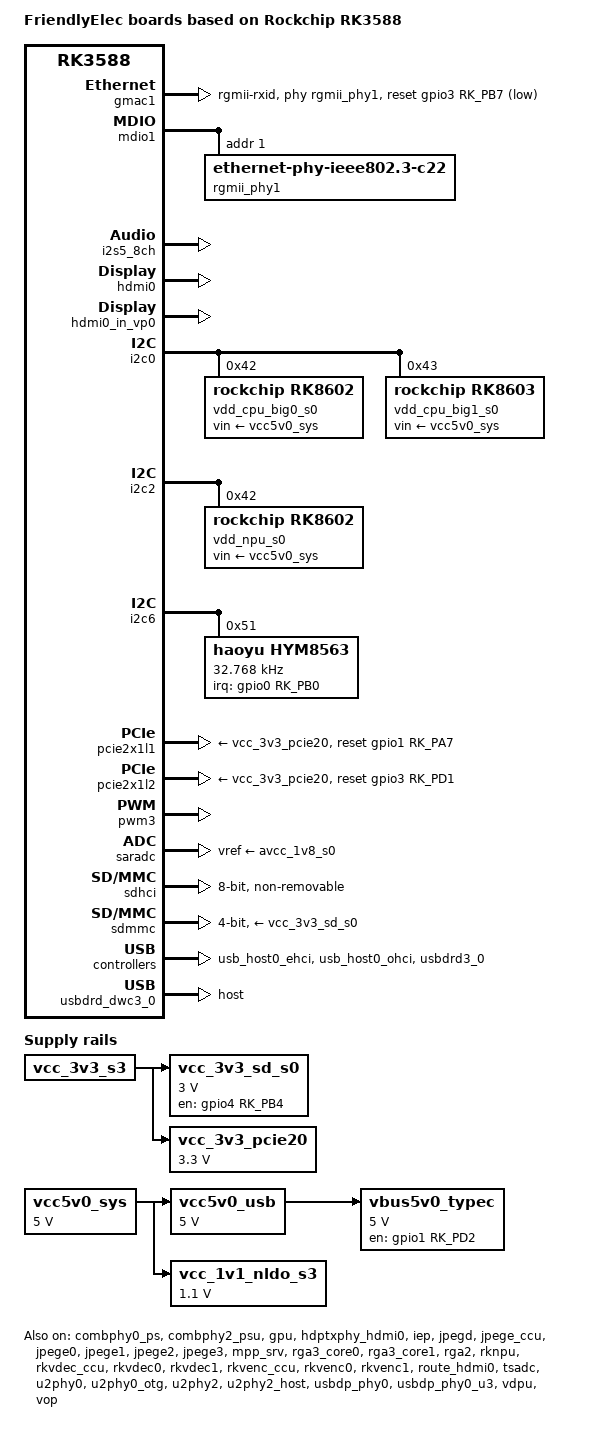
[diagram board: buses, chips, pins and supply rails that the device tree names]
// SPDX-License-Identifier: (GPL-2.0+ OR MIT)
/*
 * Copyright (c) 2022 FriendlyElec Computer Tech. Co., Ltd.
 * (http://www.friendlyelec.com)
 *
 * Copyright (c) 2021 Rockchip Electronics Co., Ltd.
 */

#include <dt-bindings/gpio/gpio.h>
#include <dt-bindings/pwm/pwm.h>
#include <dt-bindings/pinctrl/rockchip.h>
#include <dt-bindings/input/rk-input.h>
#include <dt-bindings/display/drm_mipi_dsi.h>
#include <dt-bindings/display/rockchip_vop.h>
#include <dt-bindings/sensor-dev.h>
#include <dt-bindings/usb/pd.h>
#include "rk3588s.dtsi"
#include "rk3588-rk806-single.dtsi"
#include "rk3588-linux.dtsi"

/ {
	model = "FriendlyElec boards based on Rockchip RK3588";
	compatible = "friendlyelec,nanopi6",
		     "rockchip,rk3588";

	aliases {
		mmc0 = &sdmmc;
		mmc1 = &sdio;
		mmc2 = &sdhci;
	};

	chosen: chosen {
		bootargs = "earlycon=uart8250,mmio32,0xfeb50000 console=ttyFIQ0 coherent_pool=1m irqchip.gicv3_pseudo_nmi=0";
	};

	hdmi0_sound: hdmi0-sound {
		status = "disabled";
		compatible = "rockchip,hdmi";
		rockchip,mclk-fs = <128>;
		rockchip,card-name = "rockchip-hdmi0";
		rockchip,cpu = <&i2s5_8ch>;
		rockchip,codec = <&hdmi0>;
		rockchip,jack-det;
	};

	mach: board {
		compatible = "friendlyelec,board";
		machine = "NANOPI6";
		hwrev = <255>;
		model = "NanoPi 6 Series";
		nvmem-cells = <&otp_id>, <&otp_cpu_version>;
		nvmem-cell-names = "id", "cpu-version";
	};

	vcc5v0_sys: vcc5v0-sys {
		compatible = "regulator-fixed";
		regulator-name = "vcc5v0_sys";
		regulator-always-on;
		regulator-boot-on;
		regulator-min-microvolt = <5000000>;
		regulator-max-microvolt = <5000000>;
	};

	vcc5v0_usb: vcc5v0-usb {
		compatible = "regulator-fixed";
		regulator-name = "vcc5v0_usb";
		regulator-always-on;
		regulator-boot-on;
		regulator-min-microvolt = <5000000>;
		regulator-max-microvolt = <5000000>;
		vin-supply = <&vcc5v0_sys>;
	};

	vcc_1v1_nldo_s3: vcc-1v1-nldo-s3 {
		compatible = "regulator-fixed";
		regulator-name = "vcc_1v1_nldo_s3";
		regulator-always-on;
		regulator-boot-on;
		regulator-min-microvolt = <1100000>;
		regulator-max-microvolt = <1100000>;
		vin-supply = <&vcc5v0_sys>;
	};

	vcc_3v3_sd_s0: vcc-3v3-sd-s0-regulator {
		compatible = "regulator-fixed";
		enable-active-high;
		gpio = <&gpio4 RK_PB4 GPIO_ACTIVE_HIGH>;
		pinctrl-names = "default";
		pinctrl-0 = <&sd_s0_pwr>;
		regulator-always-on;
		regulator-boot-on;
		regulator-max-microvolt = <3000000>;
		regulator-min-microvolt = <3000000>;
		regulator-name = "vcc_3v3_sd_s0";
		vin-supply = <&vcc_3v3_s3>;
	};

	vcc_3v3_pcie20: vcc3v3-pcie20 {
		compatible = "regulator-fixed";
		regulator-name = "vcc_3v3_pcie20";
		regulator-always-on;
		regulator-boot-on;
		regulator-min-microvolt = <3300000>;
		regulator-max-microvolt = <3300000>;
		vin-supply = <&vcc_3v3_s3>;
	};

	vbus5v0_typec: vbus5v0-typec {
		compatible = "regulator-fixed";
		enable-active-high;
		gpio = <&gpio1 RK_PD2 GPIO_ACTIVE_HIGH>;
		pinctrl-names = "default";
		pinctrl-0 = <&typec5v_pwren>;
		regulator-name = "vbus5v0_typec";
		regulator-min-microvolt = <5000000>;
		regulator-max-microvolt = <5000000>;
		vin-supply = <&vcc5v0_usb>;
	};

	pwm_backlight: pwm-backlight {
		status = "disabled";
		compatible = "pwm-backlight";
	};

	test-power {
		status = "okay";
	};
};

&av1d_mmu {
	status = "okay";
};

&combphy0_ps {
	status = "okay";
};

&combphy2_psu {
	status = "okay";
};

&cpu_l0 {
	cpu-supply = <&vdd_cpu_lit_s0>;
	mem-supply = <&vdd_cpu_lit_mem_s0>;
};

&cpu_b0 {
	cpu-supply = <&vdd_cpu_big0_s0>;
	mem-supply = <&vdd_cpu_big0_mem_s0>;
};

&cpu_b2 {
	cpu-supply = <&vdd_cpu_big1_s0>;
	mem-supply = <&vdd_cpu_big1_mem_s0>;
};

&gpu {
	mali-supply = <&vdd_gpu_s0>;
	mem-supply = <&vdd_gpu_mem_s0>;
	upthreshold = <60>;
	downdifferential = <30>;
	status = "okay";
};

&gmac1 {
	/* Use rgmii-rxid mode to disable rx delay inside Soc */
	phy-mode = "rgmii-rxid";
	clock_in_out = "output";

	snps,no-vlhash;
	snps,reset-gpio = <&gpio3 RK_PB7 GPIO_ACTIVE_LOW>;
	snps,reset-active-low;
	/* Reset time is 20ms, 100ms for rtl8211f */
	snps,reset-delays-us = <0 20000 100000>;

	pinctrl-names = "default";
	pinctrl-0 = <&gmac1_miim
		     &gmac1_tx_bus2
		     &gmac1_rx_bus2
		     &gmac1_rgmii_clk
		     &gmac1_rgmii_bus>;

	tx_delay = <0x42>;
	/* rx_delay = <0x4f>; */

	phy-handle = <&rgmii_phy1>;
	status = "okay";
};

&mdio1 {
	rgmii_phy1: phy@1 {
		compatible = "ethernet-phy-ieee802.3-c22";
		reg = <0x1>;
	};
};

&i2s5_8ch {
	status = "okay";
};

&hdmi0 {
	cec-enable;
	enable-gpios = <&gpio4 RK_PB6 GPIO_ACTIVE_HIGH>;
	status = "okay";
};

&hdmi0_in_vp0 {
	status = "okay";
};

&hdmi0_sound {
	status = "okay";
};

&hdptxphy_hdmi0 {
	status = "okay";
};

&hdptxphy0 {
	/* Single Vdiff Training Table for power reduction (optional) */
	training-table = /bits/ 8 <
		/* voltage swing 0, pre-emphasis 0->3 */
		0x0d 0x00 0x00 0x00 0x00 0x00
		0x0d 0x00 0x00 0x00 0x00 0x00
		0x0d 0x00 0x00 0x00 0x00 0x00
		0x0d 0x00 0x00 0x00 0x00 0x00
		/* voltage swing 1, pre-emphasis 0->2 */
		0x0d 0x00 0x00 0x00 0x00 0x00
		0x0d 0x00 0x00 0x00 0x00 0x00
		0x0d 0x00 0x00 0x00 0x00 0x00
		/* voltage swing 2, pre-emphasis 0->1 */
		0x0d 0x00 0x00 0x00 0x00 0x00
		0x0d 0x00 0x00 0x00 0x00 0x00
		/* voltage swing 3, pre-emphasis 0 */
		0x0d 0x00 0x00 0x00 0x00 0x00
	>;
	status = "disabled";
};

&i2c0 {
	status = "okay";
	pinctrl-names = "default";
	pinctrl-0 = <&i2c0m2_xfer>;

	vdd_cpu_big0_s0: vdd_cpu_big0_mem_s0: rk8602@42 {
		compatible = "rockchip,rk8602";
		reg = <0x42>;
		vin-supply = <&vcc5v0_sys>;
		regulator-compatible = "rk860x-reg";
		regulator-name = "vdd_cpu_big0_s0";
		regulator-min-microvolt = <550000>;
		regulator-max-microvolt = <1100000>;
		regulator-ramp-delay = <2300>;
		rockchip,suspend-voltage-selector = <1>;
		regulator-boot-on;
		regulator-always-on;
		regulator-state-mem {
			regulator-off-in-suspend;
		};
	};

	vdd_cpu_big1_s0: vdd_cpu_big1_mem_s0: rk8603@43 {
		compatible = "rockchip,rk8603";
		reg = <0x43>;
		vin-supply = <&vcc5v0_sys>;
		regulator-compatible = "rk860x-reg";
		regulator-name = "vdd_cpu_big1_s0";
		regulator-min-microvolt = <550000>;
		regulator-max-microvolt = <1100000>;
		regulator-ramp-delay = <2300>;
		rockchip,suspend-voltage-selector = <1>;
		regulator-boot-on;
		regulator-always-on;
		regulator-state-mem {
			regulator-off-in-suspend;
		};
	};
};

&i2c2 {
	status = "okay";

	vdd_npu_s0: vdd_npu_mem_s0: rk8602@42 {
		compatible = "rockchip,rk8602";
		reg = <0x42>;
		vin-supply = <&vcc5v0_sys>;
		regulator-compatible = "rk860x-reg";
		regulator-name = "vdd_npu_s0";
		regulator-min-microvolt = <550000>;
		regulator-max-microvolt = <950000>;
		regulator-ramp-delay = <2300>;
		rockchip,suspend-voltage-selector = <1>;
		regulator-boot-on;
		regulator-always-on;
		regulator-state-mem {
			regulator-off-in-suspend;
		};
	};
};

&i2c3 {
	status = "disabled";
};

&i2c4 {
	status = "disabled";
	pinctrl-names = "default";
	pinctrl-0 = <&i2c4m3_xfer>;
};

&i2c5 {
	status = "disabled";
	pinctrl-names = "default";
	pinctrl-0 = <&i2c5m3_xfer>;
};

&i2c6 {
	status = "okay";
	pinctrl-names = "default";
	pinctrl-0 = <&i2c6m0_xfer>;

	hym8563: hym8563@51 {
		compatible = "haoyu,hym8563";
		reg = <0x51>;
		#clock-cells = <0>;
		clock-frequency = <32768>;
		clock-output-names = "hym8563";
		pinctrl-names = "default";
		pinctrl-0 = <&rtc_int>;

		interrupt-parent = <&gpio0>;
		interrupts = <RK_PB0 IRQ_TYPE_LEVEL_LOW>;
		wakeup-source;
	};
};

&i2c7 {
	status = "disabled";
};

&i2c8 {
	status = "disabled";
};

&iep {
	status = "okay";
};

&iep_mmu {
	status = "okay";
};

&jpegd {
	status = "okay";
};

&jpegd_mmu {
	status = "okay";
};

&jpege_ccu {
	status = "okay";
};

&jpege0 {
	status = "okay";
};

&jpege0_mmu {
	status = "okay";
};

&jpege1 {
	status = "okay";
};

&jpege1_mmu {
	status = "okay";
};

&jpege2 {
	status = "okay";
};

&jpege2_mmu {
	status = "okay";
};

&jpege3 {
	status = "okay";
};

&jpege3_mmu {
	status = "okay";
};

&mpp_srv {
	status = "okay";
};

&pcie2x1l1 {
	reset-gpios = <&gpio1 RK_PA7 GPIO_ACTIVE_HIGH>;
	vpcie3v3-supply = <&vcc_3v3_pcie20>;
	status = "okay";
};

&pcie2x1l2 {
	reset-gpios = <&gpio3 RK_PD1 GPIO_ACTIVE_HIGH>;
	rockchip,init-delay-ms = <500>;
	vpcie3v3-supply = <&vcc_3v3_pcie20>;
	status = "okay";
};

&pinctrl {
	hym8563 {
		rtc_int: rtc-int {
			rockchip,pins = <0 RK_PB0 RK_FUNC_GPIO &pcfg_pull_up>;
		};
	};

	sdmmc {
		sd_s0_pwr: sd-s0-pwr {
			rockchip,pins = <4 RK_PB4 RK_FUNC_GPIO &pcfg_pull_up>;
		};
	};

	usb {
		typec5v_pwren: typec5v-pwren {
			rockchip,pins = <1 RK_PD2 RK_FUNC_GPIO &pcfg_pull_none>;
		};

		/omit-if-no-ref/
		usbc0_int: usbc0-int {
			rockchip,pins = <0 RK_PD3 RK_FUNC_GPIO &pcfg_pull_up>;
		};
	};
};

&pwm3 {
	compatible = "rockchip,remotectl-pwm";
	pinctrl-names = "default";
	pinctrl-0 = <&pwm3m0_pins>;
	remote_pwm_id = <3>;
	handle_cpu_id = <1>;
	remote_support_psci = <0>;
	status = "okay";

	ir_key1 {
		rockchip,usercode = <0xc43b>;
		/* /system/usr/keylayout/Generic.kl */
		rockchip,key_table =
			<0xff	KEY_POWER>,
			<0xef	KEY_LEFT>,
			<0xed	KEY_RIGHT>,
			<0xf2	KEY_UP>,
			<0xea	KEY_DOWN>,
			<0xee	KEY_ENTER>,
			<0xe9	KEY_MUTE>,
			<0xf1	KEY_VOLUMEDOWN>,
			<0xf3	KEY_VOLUMEUP>,
			<0xae	KEY_MENU>,
			<0xeb	172>,
			<0xaf	KEY_BACK>,
			<0xf7	204>,
			<0xe5	KEY_SYSRQ>,
			<0xf5	580>;
	};
};

&rga3_core0 {
	status = "okay";
};

&rga3_0_mmu {
	status = "okay";
};

&rga3_core1 {
	status = "okay";
};

&rga3_1_mmu {
	status = "okay";
};

&rga2 {
	status = "okay";
};

&rknpu {
	rknpu-supply = <&vdd_npu_s0>;
	mem-supply = <&vdd_npu_mem_s0>;
	status = "okay";
};

&rknpu_mmu {
	status = "okay";
};

&rkvdec_ccu {
	status = "okay";
};

&rkvdec0 {
	status = "okay";
};

&rkvdec0_mmu {
	status = "okay";
};

&rkvdec1 {
	status = "okay";
};

&rkvdec1_mmu {
	status = "okay";
};

&rkvenc_ccu {
	status = "okay";
};

&rkvenc0 {
	venc-supply = <&vdd_vdenc_s0>;
	mem-supply = <&vdd_vdenc_mem_s0>;
	status = "okay";
};

&rkvenc0_mmu {
	status = "okay";
};

&rkvenc1 {
	venc-supply = <&vdd_vdenc_s0>;
	mem-supply = <&vdd_vdenc_mem_s0>;
	status = "okay";
};

&rkvenc1_mmu {
	status = "okay";
};

&avcc_1v8_s0 {
	regulator-state-mem {
		regulator-on-in-suspend;
		regulator-suspend-microvolt = <1800000>;
	};
};

&vdd_log_s0 {
	regulator-state-mem {
		regulator-on-in-suspend;
		regulator-suspend-microvolt = <750000>;
	};
};

&rockchip_suspend {
	status = "okay";
	rockchip,sleep-debug-en = <1>;
	rockchip,sleep-mode-config = <
		(0
		| RKPM_SLP_ARMOFF_DDRPD
		)
	>;
	rockchip,wakeup-config = <
		(0
		| RKPM_CPU0_WKUP_EN
		| RKPM_GPIO_WKUP_EN
		)
	>;
};

&route_hdmi0 {
	status = "okay";
	connect = <&vp0_out_hdmi0>;
};

&saradc {
	status = "okay";
	vref-supply = <&avcc_1v8_s0>;
};

&sdhci {
	bus-width = <8>;
	no-sdio;
	no-sd;
	non-removable;
	max-frequency = <200000000>;
	mmc-hs400-1_8v;
	mmc-hs400-enhanced-strobe;
	status = "okay";
};

&sdmmc {
	max-frequency = <150000000>;
	no-sdio;
	no-mmc;
	bus-width = <4>;
	cap-mmc-highspeed;
	cap-sd-highspeed;
	disable-wp;
	sd-uhs-sdr104;
	vmmc-supply = <&vcc_3v3_sd_s0>;
	vqmmc-supply = <&vccio_sd_s0>;
	pinctrl-names = "default";
	pinctrl-0 = <&sdmmc_bus4 &sdmmc_clk &sdmmc_cmd &sdmmc_det>;
	status = "okay";
};

&tsadc {
	status = "okay";
};

&u2phy0 {
	status = "okay";
};

&u2phy0_otg {
	status = "okay";
};

&u2phy2 {
	status = "okay";
};

&u2phy2_host {
	status = "okay";
};

&usb_host0_ehci {
	status = "okay";
};

&usb_host0_ohci {
	status = "okay";
};

&usbdp_phy0 {
	status = "okay";
};

&usbdp_phy0_u3 {
	status = "okay";
};

&usbdrd3_0 {
	status = "okay";
};

&usbdrd_dwc3_0 {
	dr_mode = "host";
	extcon = <&u2phy0>;
	snps,xhci-trb-ent-quirk;
	status = "okay";
};

&usbhost3_0 {
	status = "disabled";
};

&usbhost_dwc3_0 {
	status = "disabled";
};

&vdpu {
	status = "okay";
};

&vdpu_mmu {
	status = "okay";
};

&vop {
	assigned-clocks = <&cru ACLK_VOP>;
	assigned-clock-rates = <800000000>;
	status = "okay";
};

&vop_mmu {
	status = "okay";
};

/* vp0 & vp1 splice for 8K output */
&vp0 {
	rockchip,plane-mask = <(1 << ROCKCHIP_VOP2_CLUSTER0 | 1 << ROCKCHIP_VOP2_ESMART0)>;
	rockchip,primary-plane = <ROCKCHIP_VOP2_ESMART0>;
};

&vp1 {
	rockchip,plane-mask = <(1 << ROCKCHIP_VOP2_CLUSTER1 | 1 << ROCKCHIP_VOP2_ESMART1)>;
	rockchip,primary-plane = <ROCKCHIP_VOP2_ESMART1>;
};

&vp2 {
	rockchip,plane-mask = <(1 << ROCKCHIP_VOP2_CLUSTER2 | 1 << ROCKCHIP_VOP2_ESMART2)>;
	rockchip,primary-plane = <ROCKCHIP_VOP2_ESMART2>;
};

&vp3 {
	rockchip,plane-mask = <(1 << ROCKCHIP_VOP2_CLUSTER3 | 1 << ROCKCHIP_VOP2_ESMART3)>;
	rockchip,primary-plane = <ROCKCHIP_VOP2_ESMART3>;
};

